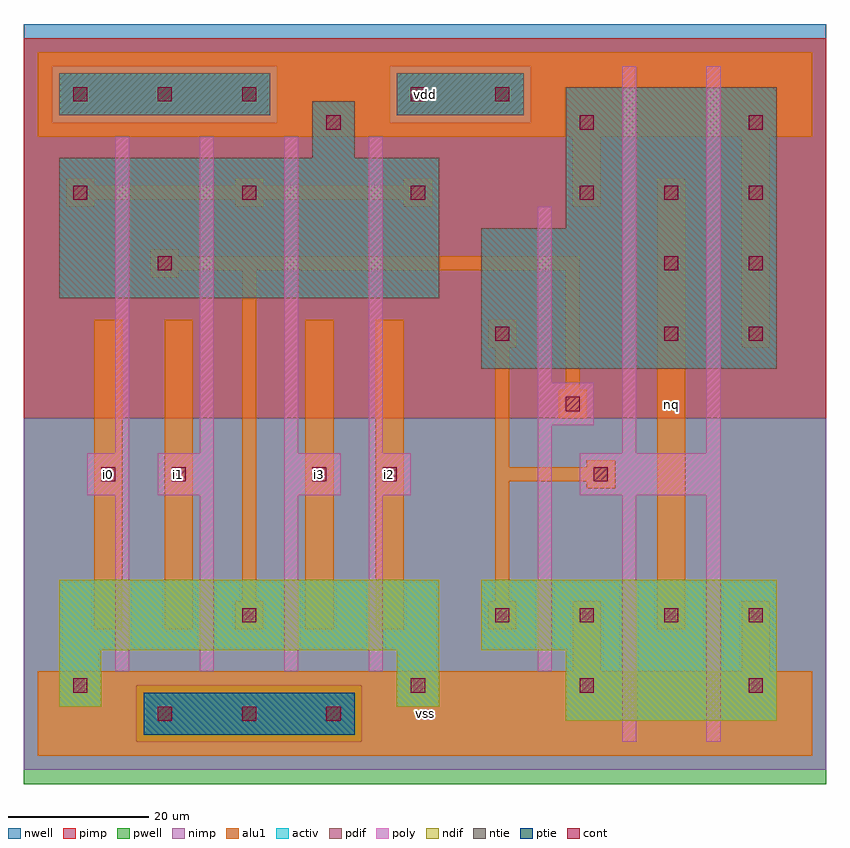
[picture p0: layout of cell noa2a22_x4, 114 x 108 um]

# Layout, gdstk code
import gdstk
lib = gdstk.Library(unit=1e-6, precision=1e-09)
def R(c, l, rs):  # rectangles x0, y0, x1, y1
    for r in rs: c.add(gdstk.rectangle(r[:2], r[2:], *l))
def A(c, l, x, y, w, h, nx, ny, dx, dy):  # array of equal rectangles
    R(c, l, [(x+i*dx, y+j*dy, x+i*dx+w, y+j*dy+h) for i in range(nx) for j in range(ny)])
ndif = (3, 0)
pdif = (4, 0)
ntie = (5, 0)
ptie = (6, 0)
cont = (25, 0)
pwell = (41, 0)
nwell = (42, 0)
activ = (43, 0)
pimp = (44, 0)
nimp = (45, 0)
poly = (46, 0)
alu1 = (49, 0)

noa2a22_x4 = lib.new_cell('noa2a22_x4')
R(noa2a22_x4, ndif, [(75,5,105,15), (3,7,9,15), (51,7,57,15), (3,15,57,25), (63,15,105,25)])
R(noa2a22_x4, pdif, [(63,55,105,75), (3,65,57,85), (75,75,105,95), (39,85,45,93)])
R(noa2a22_x4, ntie, [(3,91,33,97), (51,91,69,97)])
R(noa2a22_x4, ptie, [(15,3,45,9)])
A(noa2a22_x4, cont, 17, 5, 2, 2, 3, 1, 12, 0)
A(noa2a22_x4, cont, 53, 9, 2, 2, 3, 1, 24, 0)
A(noa2a22_x4, cont, 65, 19, 2, 2, 4, 1, 12, 0)
A(noa2a22_x4, cont, 89, 59, 2, 2, 1, 3, 0, 10)
A(noa2a22_x4, cont, 101, 59, 2, 2, 1, 4, 0, 10)
A(noa2a22_x4, cont, 5, 79, 2, 2, 4, 1, 24, 0)
A(noa2a22_x4, cont, 5, 93, 2, 2, 3, 1, 12, 0)
R(noa2a22_x4, cont, [(5,9,7,11), (29,19,31,21), (9,39,11,41), (19,39,21,41), (39,39,41,41), (49,39,51,41), (79,39,81,41), (75,49,77,51), (65,59,67,61), (17,69,19,71), (41,89,43,91), (77,89,79,91), (53,93,55,95), (65,93,67,95)])
R(noa2a22_x4, pwell, [(-2,-4,112,48)])
R(noa2a22_x4, nwell, [(-2,48,112,104)])
R(noa2a22_x4, activ, [(15,3,45,9), (75,5,105,15), (3,7,9,15), (51,7,57,15), (3,15,57,25), (63,15,105,25), (63,55,105,75), (3,65,57,85), (75,75,105,95), (39,85,45,93), (3,91,33,97), (51,91,69,97)])
R(noa2a22_x4, pimp, [(14,2,46,10), (-2,48,112,90), (-2,90,2,98), (34,90,50,98), (70,90,112,98), (-2,98,112,102)])
R(noa2a22_x4, nimp, [(-2,-2,112,2), (-2,2,14,10), (46,2,112,10), (-2,10,112,48), (2,90,34,98), (50,90,70,98)])
A(noa2a22_x4, poly, 11, 12, 2, 25, 4, 1, 12, 0)
A(noa2a22_x4, poly, 11, 43, 2, 45, 4, 1, 12, 0)
R(noa2a22_x4, poly, [(83,2,85,37), (95,2,97,37), (71,12,73,47), (7,37,13,43), (17,37,25,43), (35,37,43,43), (47,37,53,43), (77,37,97,43), (83,43,85,98), (95,43,97,98), (71,47,79,53), (71,53,73,78)])
A(noa2a22_x4, alu1, 4, 78, 4, 1, 3, 2, 24, 3)
R(noa2a22_x4, alu1, [(0,0,110,12), (76,12,80,22), (100,12,104,22), (8,18,12,62), (18,18,22,62), (28,18,32,22), (38,18,42,62), (48,18,52,62), (64,18,68,22), (88,18,92,82), (29,22,31,69), (65,22,67,39), (78,38,82,39), (65,39,82,41), (65,41,67,58), (78,41,82,42), (74,48,78,52), (75,52,77,69), (64,58,68,62), (100,58,104,88), (16,68,20,69), (16,69,77,71), (16,71,20,72), (76,78,80,88), (4,79,56,81), (0,88,110,100)])
noa2a22_x4.add(gdstk.Label('i0', (10,40), layer=49, texttype=0))
noa2a22_x4.add(gdstk.Label('i1', (20,40), layer=49, texttype=0))
noa2a22_x4.add(gdstk.Label('vss', (55,6), layer=49, texttype=0))
noa2a22_x4.add(gdstk.Label('i2', (50,40), layer=49, texttype=0))
noa2a22_x4.add(gdstk.Label('i3', (40,40), layer=49, texttype=0))
noa2a22_x4.add(gdstk.Label('vdd', (55,94), layer=49, texttype=0))
noa2a22_x4.add(gdstk.Label('nq', (90,50), layer=49, texttype=0))

lib.write_gds('noa2a22_x4.gds')
